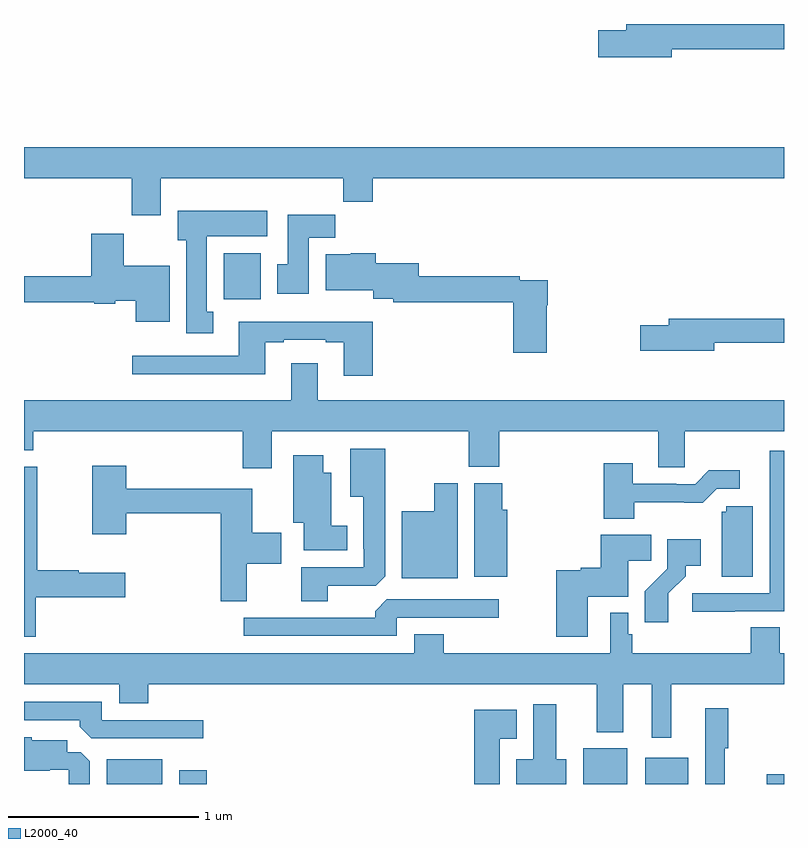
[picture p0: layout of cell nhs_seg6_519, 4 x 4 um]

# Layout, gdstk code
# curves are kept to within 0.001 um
import gdstk
lib = gdstk.Library(unit=1e-6, precision=1e-09)
def R(c, l, rs):  # rectangles x0, y0, x1, y1
    for r in rs: c.add(gdstk.rectangle(r[:2], r[2:], *l))
def P(c, l, *ps):  # polygons
    for p in ps: c.add(gdstk.Polygon(p, *l))
L2000_40 = (2000, 40)

nhs_seg6_519 = lib.new_cell('nhs_seg6_519')
R(nhs_seg6_519, L2000_40, [(143.435,925.5,143.728,925.63), (143.816,925.5,143.963,925.573), (145.943,925.5,146.176,925.687), (146.27,925.5,146.497,925.639), (146.91,925.5,147,925.551), (144.05,928.052,144.247,928.294)])
P(nhs_seg6_519, L2000_40, [(146.41,929.368),(147,929.368),(147,929.5),(146.171,929.5),(146.171,929.468),(146.022,929.468),(146.022,929.326),(146.41,929.326)],
  [(143.719,928.688),(144.679,928.688),(144.679,928.564),(144.836,928.564),(144.836,928.688),(147,928.688),(147,928.852),(143,928.852),(143,928.688),(143.567,928.688),(143.567,928.494),(143.719,928.494)],
  [(143.995,927.986),(143.962,927.986),(143.962,928.382),(144.28,928.382),(144.28,928.516),(143.81,928.516),(143.81,928.362),(143.855,928.362),(143.855,927.873),(143.995,927.873)],
  [(144.499,928.376),(144.638,928.376),(144.638,928.495),(144.389,928.495),(144.389,928.236),(144.332,928.236),(144.332,928.08),(144.499,928.08)],
  [(143.767,928.228),(143.524,928.228),(143.524,928.396),(143.354,928.396),(143.354,928.172),(143,928.172),(143,928.036),(143.37,928.036),(143.37,928.028),(143.481,928.028),(143.481,928.043),(143.588,928.043),(143.588,927.932),(143.767,927.932)],
  [(145.752,928.019),(145.757,928.019),(145.757,928.152),(145.61,928.152),(145.61,928.172),(145.078,928.172),(145.078,928.24),(144.851,928.24),(144.851,928.294),(144.72,928.294),(144.72,928.288),(144.587,928.288),(144.587,928.1),(144.839,928.1),(144.839,928.055),(144.943,928.055),(144.943,928.036),(145.574,928.036),(145.574,927.771),(145.752,927.771)],
  [(146.632,927.822),(147,927.822),(147,927.95),(146.393,927.95),(146.393,927.914),(146.244,927.914),(146.244,927.779),(146.632,927.779)],
  [(144.836,927.934),(144.131,927.934),(144.131,927.753),(143.571,927.753),(143.571,927.656),(144.271,927.656),(144.271,927.825),(144.367,927.825),(144.367,927.837),(144.587,927.837),(144.587,927.825),(144.683,927.825),(144.683,927.648),(144.836,927.648)],
  [(144.304,927.356),(145.342,927.356),(145.342,927.169),(145.502,927.169),(145.502,927.356),(146.339,927.356),(146.339,927.166),(146.478,927.166),(146.478,927.356),(147,927.356),(147,927.52),(144.547,927.52),(144.547,927.715),(144.407,927.715),(144.407,927.52),(143,927.52),(143,927.257),(143.048,927.257),(143.048,927.356),(144.152,927.356),(144.152,927.162),(144.304,927.162)],
  [(144.598,926.544),(144.852,926.544),(144.901,926.593),(144.901,927.265),(144.716,927.265),(144.716,927.011),(144.785,927.011),(144.785,926.737),(144.789,926.737),(144.789,926.64),(144.458,926.64),(144.458,926.461),(144.598,926.461)],
  [(146.741,926.409),(147,926.409),(147,927.253),(146.924,927.253),(146.924,927.001),(146.925,927.001),(146.925,926.505),(146.517,926.505),(146.517,926.407),(146.741,926.407)],
  [(144.7,926.86),(144.616,926.86),(144.616,927.139),(144.574,927.139),(144.574,927.229),(144.416,927.229),(144.416,926.876),(144.473,926.876),(144.473,926.729),(144.7,926.729)],
  [(146.211,926.982),(146.573,926.981),(146.646,927.054),(146.767,927.054),(146.767,927.151),(146.605,927.151),(146.532,927.078),(146.432,927.078),(146.432,927.081),(146.203,927.081),(146.203,927.187),(146.051,927.187),(146.051,926.897),(146.211,926.897)],
  [(144.172,926.66),(144.355,926.66),(144.355,926.823),(144.202,926.823),(144.202,927.055),(143.537,927.055),(143.537,927.175),(143.359,927.175),(143.359,926.814),(143.537,926.814),(143.537,926.926),(144.035,926.926),(144.035,926.463),(144.172,926.463)],
  [(143.062,926.482),(143.533,926.482),(143.533,926.611),(143.289,926.611),(143.289,926.624),(143.07,926.624),(143.07,927.17),(143,927.17),(143,926.274),(143.062,926.274)],
  [(145.543,926.944),(145.517,926.944),(145.517,927.084),(145.37,927.084),(145.37,926.592),(145.543,926.592)],
  [(145.282,927.082),(145.16,927.082),(145.16,926.935),(144.989,926.935),(144.989,926.582),(145.282,926.582)],
  [(146.836,926.961),(146.697,926.961),(146.697,926.934),(146.672,926.934),(146.672,926.59),(146.836,926.59)],
  [(145.966,926.486),(146.179,926.486),(146.179,926.674),(146.3,926.674),(146.3,926.812),(146.035,926.812),(146.035,926.639),(145.929,926.639),(145.929,926.626),(145.801,926.626),(145.801,926.274),(145.966,926.274)],
  [(146.392,926.503),(146.482,926.593),(146.482,926.648),(146.563,926.648),(146.563,926.788),(146.385,926.788),(146.385,926.633),(146.266,926.514),(146.266,926.352),(146.392,926.352)],
  [(144.963,926.376),(145.498,926.376),(145.498,926.472),(144.909,926.472),(144.848,926.41),(144.848,926.376),(144.156,926.376),(144.156,926.28),(144.963,926.28)],
  [(146.407,926.024),(147,926.024),(147,926.188),(146.977,926.188),(146.977,926.324),(146.825,926.324),(146.825,926.188),(146.201,926.188),(146.201,926.289),(146.181,926.289),(146.181,926.401),(146.085,926.401),(146.085,926.188),(145.208,926.188),(145.208,926.287),(145.055,926.287),(145.055,926.188),(143,926.188),(143,926.024),(143.501,926.024),(143.501,925.925),(143.654,925.925),(143.654,926.024),(146.015,926.024),(146.015,925.772),(146.155,925.772),(146.155,926.024),(146.303,926.024),(146.303,925.743),(146.407,925.743)],
  [(143.944,925.836),(143.409,925.836),(143.409,925.932),(143,925.932),(143,925.836),(143.294,925.836),(143.294,925.802),(143.355,925.74),(143.944,925.74)],
  [(145.855,925.63),(145.801,925.63),(145.801,925.921),(145.679,925.921),(145.679,925.63),(145.592,925.63),(145.592,925.5),(145.855,925.5)],
  [(146.689,925.687),(146.707,925.687),(146.707,925.9),(146.585,925.9),(146.585,925.5),(146.689,925.5)],
  [(145.504,925.739),(145.594,925.739),(145.594,925.891),(145.37,925.891),(145.37,925.5),(145.504,925.5)],
  [(143.347,925.619),(143.298,925.668),(143.227,925.668),(143.227,925.729),(143.04,925.729),(143.04,925.747),(143,925.747),(143,925.571),(143.135,925.571),(143.135,925.575),(143.235,925.575),(143.235,925.5),(143.347,925.5)])

lib.write_gds('nhs_seg6_519.gds')
